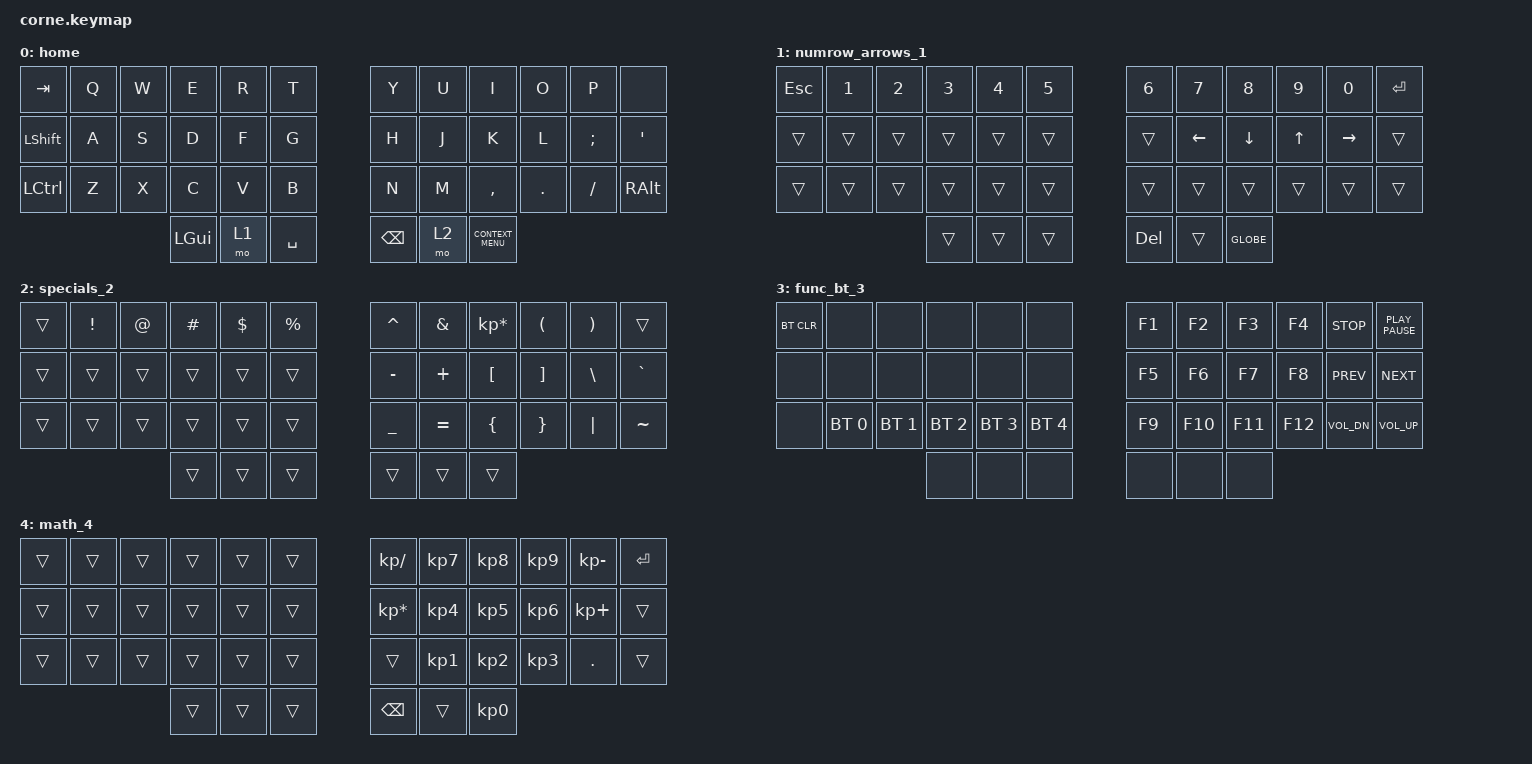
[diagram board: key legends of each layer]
/*
 * Copyright (c) 2020 The ZMK Contributors
 *
 * SPDX-License-Identifier: MIT
 */

#include <behaviors.dtsi>
#include <dt-bindings/zmk/bt.h>
#include <dt-bindings/zmk/keys.h>

/ {
    combos { compatible = "zmk,combos"; };

    keymap {
        compatible = "zmk,keymap";

        home {
            // -----------------------------------------------------------------------------------------
            // |  TAB |  Q  |  W  |  E  |  R  |  T  |   |  Y  |  U   |  I  |  O  |  P  | BKSP |
            // | CTRL |  A  |  S  |  D  |  F  |  G  |   |  H  |  J   |  K  |  L  |  ;  |  '   |
            // | SHFT |  Z  |  X  |  C  |  V  |  B  |   |  N  |  M   |  ,  |  .  |  /  | ESC  |
            //                    | GUI | LWR | SPC |   | ENT | RSE  | ALT |

            bindings = <
&kp TAB     &kp Q  &kp W  &kp E         &kp R  &kp T      &kp Y          &kp U  &kp I               &kp O    &kp P     &none
&kp LSHIFT  &kp A  &kp S  &kp D         &kp F  &kp G      &kp H          &kp J  &kp K               &kp L    &kp SEMI  &kp SQT
&kp LCTRL   &kp Z  &kp X  &kp C         &kp V  &kp B      &kp N          &kp M  &kp COMMA           &kp DOT  &kp FSLH  &kp RALT
                          &kp LEFT_GUI  &mo 1  &kp SPACE  &kp BACKSPACE  &mo 2  &kp K_CONTEXT_MENU
            >;
        };

        numrow_arrows_1 {
            // -----------------------------------------------------------------------------------------
            // |  TAB |  1  |  2  |  3  |  4  |  5  |   |  6  |  7  |  8  |  9  |  0  | BKSP |
            // | BTCLR| BT1 | BT2 | BT3 | BT4 | BT5 |   | LFT | DWN |  UP | RGT |     |      |
            // | SHFT |     |     |     |     |     |   |     |     |     |     |     |      |
            //                    | GUI |     | SPC |   | ENT |     | ALT |

            bindings = <
&kp ESC  &kp N1  &kp N2  &kp N3  &kp N4  &kp N5  &kp N6   &kp N7    &kp N8     &kp N9  &kp N0     &kp ENTER
&trans   &trans  &trans  &trans  &trans  &trans  &trans   &kp LEFT  &kp DOWN   &kp UP  &kp RIGHT  &trans
&trans   &trans  &trans  &trans  &trans  &trans  &trans   &trans    &trans     &trans  &trans     &trans
                         &trans  &trans  &trans  &kp DEL  &trans    &kp GLOBE
            >;
        };

        specials_2 {
            // -----------------------------------------------------------------------------------------
            // |  TAB |  !  |  @  |  #  |  $  |  %  |   |  ^  |  &  |  *  |  (  |  )  | BKSP |
            // | CTRL |     |     |     |     |     |   |  -  |  =  |  [  |  ]  |  \  |  `   |
            // | SHFT |     |     |     |     |     |   |  _  |  +  |  {  |  }  | "|" |  ~   |
            //                    | GUI |     | SPC |   | ENT |     | ALT |

            bindings = <
&trans  &kp EXCL  &kp AT  &kp HASH  &kp DLLR  &kp PRCNT  &kp CARET  &kp AMPS   &kp KP_MULTIPLY  &kp LPAR  &kp RPAR  &trans
&trans  &trans    &trans  &trans    &trans    &trans     &kp MINUS  &kp PLUS   &kp LBKT         &kp RBKT  &kp BSLH  &kp GRAVE
&trans  &trans    &trans  &trans    &trans    &trans     &kp UNDER  &kp EQUAL  &kp LBRC         &kp RBRC  &kp PIPE  &kp TILDE
                          &trans    &trans    &trans     &trans     &trans     &trans
            >;
        };

        func_bt_3 {
            bindings = <
&bt BT_CLR  &none         &none         &none         &none         &none         &kp F1  &kp F2   &kp F3   &kp F4   &kp K_STOP    &kp K_PLAY_PAUSE
&none       &none         &none         &none         &none         &none         &kp F5  &kp F6   &kp F7   &kp F8   &kp K_PREV    &kp K_NEXT
&none       &bt BT_SEL 0  &bt BT_SEL 1  &bt BT_SEL 2  &bt BT_SEL 3  &bt BT_SEL 4  &kp F9  &kp F10  &kp F11  &kp F12  &kp C_VOL_DN  &kp C_VOL_UP
                                        &none         &none         &none         &none   &none    &none
            >;
        };

        math_4 {
            bindings = <
&trans  &trans  &trans  &trans  &trans  &trans  &kp KP_DIVIDE    &kp KP_NUMBER_7  &kp KP_NUMBER_8  &kp KP_NUMBER_9  &kp KP_MINUS  &kp RET
&trans  &trans  &trans  &trans  &trans  &trans  &kp KP_MULTIPLY  &kp KP_NUMBER_4  &kp KP_NUMBER_5  &kp KP_NUMBER_6  &kp KP_PLUS   &trans
&trans  &trans  &trans  &trans  &trans  &trans  &trans           &kp KP_NUMBER_1  &kp KP_NUMBER_2  &kp KP_NUMBER_3  &kp PERIOD    &trans
                        &trans  &trans  &trans  &kp BACKSPACE    &trans           &kp KP_NUMBER_0
            >;
        };
    };

    conditional_layers {
        compatible = "zmk,conditional-layers";

        num_pad {
            if-layers = <1 2>;
            then-layer = <3>;
        };
    };
};
